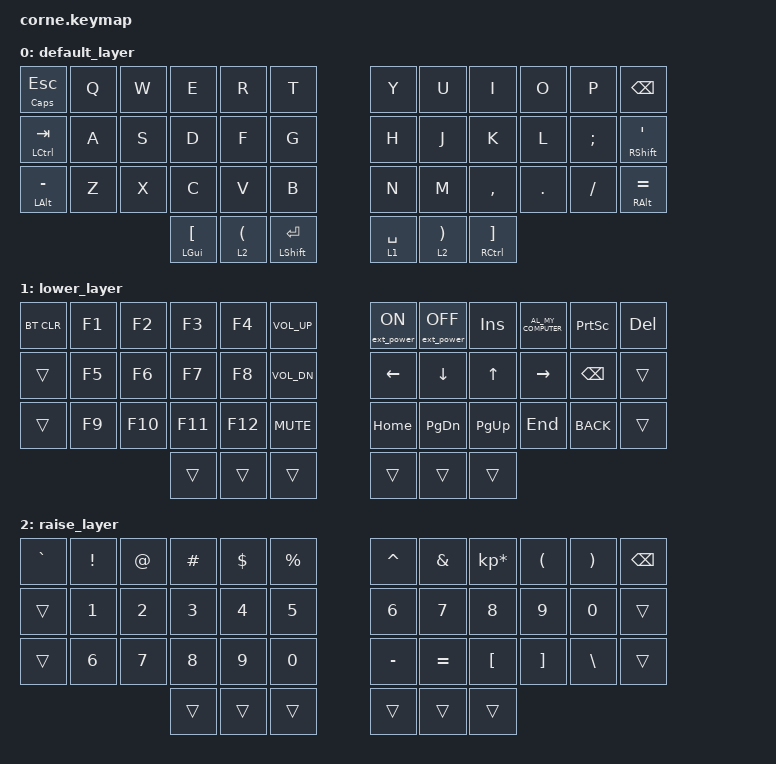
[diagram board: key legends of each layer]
 /*
 * Copyright (c) 2020 The ZMK Contributors
 *
 * SPDX-License-Identifier: MIT
 */



#include <dt-bindings/zmk/ext_power.h>
#include <behaviors.dtsi>
#include <dt-bindings/zmk/keys.h>
#include <dt-bindings/zmk/bt.h>

/ {
        keymap {
                compatible = "zmk,keymap";



                default_layer {
// -----------------------------------------------------------------------------------------
//  | CAPS ESC |  Q  |  W  |  E  |  R  |  T  |      |  Y  |  U   |  I  |  O  |  P  | BKSP   |
//  | CTRL TAB |  A  |  S  |  D  |  F  |  G  |      |  H  |  J   |  K  |  L  |  ;  | SHFT ' |
//      |ALT - |  Z  |  X  |  C  |  V  |  B  |      |  N  |  M   |  ,  |  .  |  /  | ALT = |
//                | GUI [ | L2 ( | SHFT ENT  |      | SPC L1 | L2 ) | CTRL ] |
                        bindings = <
   &mt CAPS ESC   &kp Q &kp W &kp E &kp R &kp T     &kp Y &kp U  &kp I     &kp O   &kp P    &kp BSPC
   &mt LCTRL TAB &kp A &kp S &kp D &kp F &kp G      &kp H &kp J  &kp K     &kp L   &kp SEMI &mt RSHFT SQT
   &mt LALT MINUS &kp Z &kp X &kp C &kp V &kp B     &kp N &kp M  &kp COMMA &kp DOT &kp FSLH &mt RALT EQUAL
         &mt LGUI LBKT &lt 2 LPAR &mt LSHFT RET     &lt 1 SPACE &lt 2 RPAR &mt RCTRL RBKT
                        >;
                };

// num row   &kp N1  &kp N2   &kp N3  &kp N4  &kp N5       &kp N6 &kp N7  &kp N8  &kp N9  &kp N0
//LAYER 1 

                lower_layer {
// -----------------------------------------------------------------------------------------
//    | BTCLR | F1 | F2 | F3 | F4 | VOLUP |    | EP_ON | EP_OFF | INS | MYCOMP | PSCRN | DEL  |
// | CTRL TAB | F5 | F6 | F7 | F8 | VOLDN |    | LFT | DWN |  UP | RGT | BCSP | SHFT ' |
//    | ALT - | F9 |F10 |F11 |F12 | MUTE  |    | HOME| PGUP| PGDN| END | BACK | ALT = |
//               | GUI [ |    | SHIFT ENT |    | SPC |     | CTRL ] |
                        bindings = <
   &bt BT_CLR  &kp F1  &kp F2   &kp F3   &kp F4   &kp K_VOL_UP       &ext_power EP_ON &ext_power EP_OFF &kp INS  &kp C_AL_MY_COMPUTER  &kp PSCRN  &kp DEL
   &trans      &kp F5  &kp F6   &kp F7   &kp F8   &kp K_VOL_DN       &kp LEFT &kp DOWN &kp UP &kp RIGHT &kp BSPC &trans
   &trans      &kp F9  &kp F10  &kp F11  &kp F12  &kp K_MUTE         &kp HOME   &kp PG_DN   &kp PG_UP &kp END  &kp K_BACK  &trans
                                    &trans   &trans    &trans        &trans  &trans   &trans
                        >;
                };


//LAYER 2
                raise_layer {
// -----------------------------------------------------------------------------------------
//        |  ` |  !  |  @  |  #  |  $  |  %  |   |  ^  |  &  |  *  |  (  |  )  | BKSP   |
//  | CTRL TAB |  1  |  2  |  3  |  4  |  5  |   |  6  |  7  |  8  |  9  |  0  | SHFT ' |
//     | ALT - |  6  |  7  |  8  |  9  |  0  |   |  -  |  =  |  [  |  ]  |  \  | ALT = |
//                       | GUI [ |     | SPC |   | ENT |     | CTRL ] |
                        bindings = <
   &kp GRAVE  &kp EXCL &kp AT &kp HASH &kp DLLR &kp PRCNT   &kp CARET &kp AMPS  &kp KP_MULTIPLY &kp LPAR &kp RPAR &kp BSPC
   &trans &kp N1  &kp N2   &kp N3  &kp N4  &kp N5       &kp N6 &kp N7  &kp N8  &kp N9  &kp N0 &trans
   &trans &kp N6 &kp N7  &kp N8  &kp N9  &kp N0       &kp MINUS &kp EQUAL &kp LBKT  &kp RBKT &kp BSLH &trans
                             &trans &trans   &trans   &trans   &trans    &trans
                        >;
                };
        };
};
